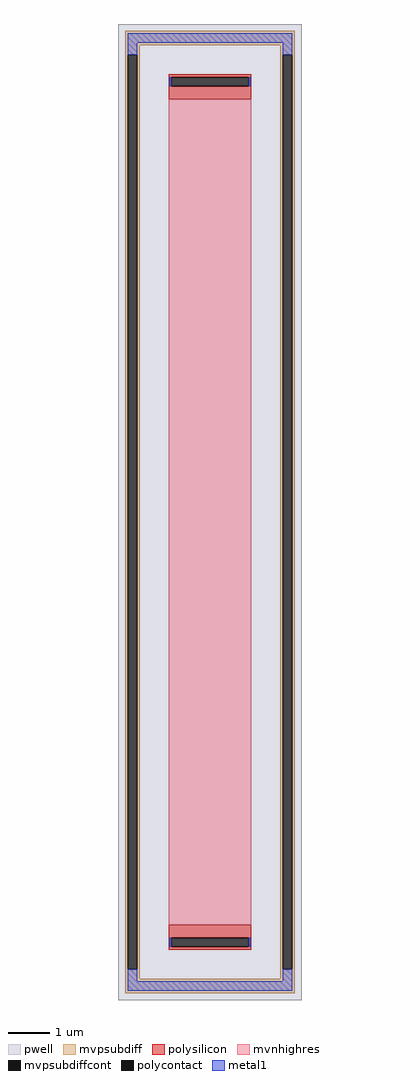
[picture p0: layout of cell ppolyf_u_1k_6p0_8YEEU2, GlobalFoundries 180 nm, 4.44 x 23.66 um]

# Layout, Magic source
magic
tech gf180mcuD
magscale 1 10
<< pwell >>
rect -444 -2366 444 2366
<< mvpsubdiff >>
rect -412 2262 412 2334
rect -412 2218 -340 2262
rect -412 -2218 -399 2218
rect -353 -2218 -340 2218
rect 340 2218 412 2262
rect -412 -2262 -340 -2218
rect 340 -2218 353 2218
rect 399 -2218 412 2218
rect 340 -2262 412 -2218
rect -412 -2334 412 -2262
<< mvpsubdiffcont >>
rect -399 -2218 -353 2218
rect 353 -2218 399 2218
<< polysilicon >>
rect -200 2109 200 2122
rect -200 2063 -187 2109
rect 187 2063 200 2109
rect -200 2000 200 2063
rect -200 -2063 200 -2000
rect -200 -2109 -187 -2063
rect 187 -2109 200 -2063
rect -200 -2122 200 -2109
<< polycontact >>
rect -187 2063 187 2109
rect -187 -2109 187 -2063
<< mvnhighres >>
rect -200 -2000 200 2000
<< metal1 >>
rect -399 2275 399 2321
rect -399 2218 -353 2275
rect 353 2218 399 2275
rect -198 2063 -187 2109
rect 187 2063 198 2109
rect -198 -2109 -187 -2063
rect 187 -2109 198 -2063
rect -399 -2275 -353 -2218
rect 353 -2275 399 -2218
rect -399 -2321 399 -2275
<< properties >>
string FIXED_BBOX -376 -2298 376 2298
string gencell ppolyf_u_1k_6p0
string library gf180mcu
string parameters w 2.0 l 20.0 m 1 nx 1 wmin 1.000 lmin 1.000 class resistor rho 1000 val 10.0k dummy 0 dw 0.0 term 0.0 sterm 0.0 caplen 0.4 snake 0 glc 1 grc 1 gtc 0 gbc 0 roverlap 0 endcov 100 full_metal 1 compatible {ppolyf_u_1k ppolyf_u_1k_6p0}
<< end >>
